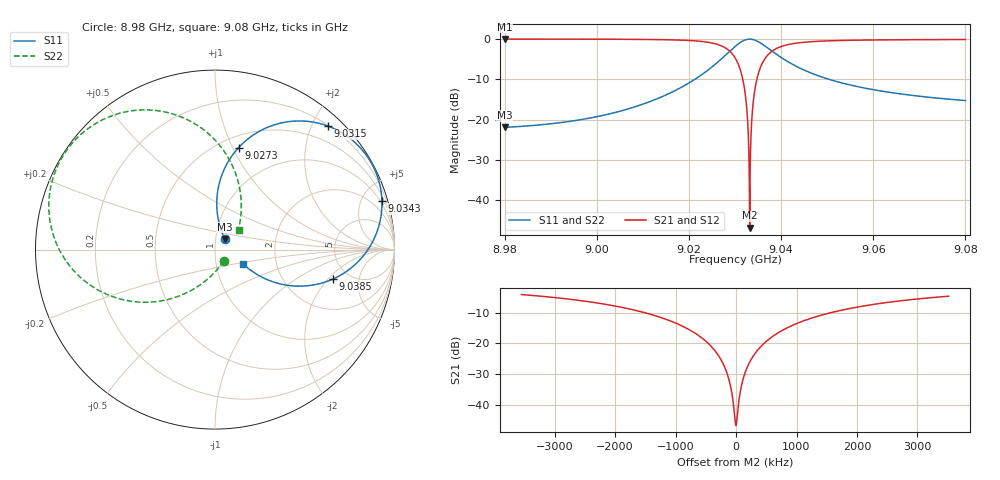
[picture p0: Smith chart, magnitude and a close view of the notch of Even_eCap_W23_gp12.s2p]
! Sonnet Data File
! From: emgraph Version : 16.52
! From Project: Resonator2_extremeCap
! Data is De-embedded
! Data File Written: 10/09/2017 23:02:46
!< HDATE 10/09/2017 15:24:44
!< MDATE 10/09/2017 17:18:05
!< PARAMS
!< Pwid1 = 2000.0
!< Pwid2 = 2000.0
!< Air_gap = 13.8
!< Width = 23.0
!< Gap = 12.0
!< END PARAMS
# GHZ S MA R 51.80000
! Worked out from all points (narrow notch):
!   1596 points, 8.98 GHz to 9.08 GHz, reference 51.8 ohm
!   highest |S21| = -0.03 dB at 8.98 GHz (marker M1); lowest = -46.8 dB at 9.0332 GHz (marker M2)
!   notch at M2: 46.1 dB deep, 595 kHz wide at half that depth
!   lowest |S11| = -21.9 dB at 8.98 GHz (marker M3), VSWR 1.17, Z = 57.3 + j6.81 ohm
!   |S11| at or under -10 dB: start of sweep to 9.021294 GHz; 9.050385 GHz to end of sweep
!   |S22| runs from -21.9 to 0.0 dB; largest |S21 - S12| = 0
!   S11 on the Smith chart (normalised r, x): 8.98 GHz: 1.11, +0.13; 9.0273 GHz: 0.61, +1.06; 9.0315 GHz: 0.21, +2.26; 9.0343 GHz: 0.78, +6.90; 9.0385 GHz: 3.73, -2.26; 9.08 GHz: 1.34, -0.22
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8.98  0.08016 47.4  0.9967 -92.6  0.9967 -92.6  0.08009 -52.6
!< P1 F=8.98 Eeff=(6.44596789 -2.9717e-5) Z0=(51.6719783 1.1922e-4) R=0.0 C=0.0
!< P2 F=8.98 Eeff=(6.44596789 -2.9717e-5) Z0=(51.6719783 1.1922e-4) R=0.0 C=0.0
8.9967  0.1003 66.4  0.9949 -95.0  0.9949 -95.0  0.1002 -76.4
9.0134  0.1845 85.2  0.9826 -101.1  0.9826 -101.1  0.1843 -107.5
9.0221  0.3391 87.1  0.9401 -110.8  0.9401 -110.8  0.3388 -129.0
9.0273  0.5836 77.0  0.81 -127.0  0.81 -127.0  0.5831 -151.4
9.03  0.8066 61.5  0.586 -145.2  0.586 -145.2  0.806 -172.6
9.031516  0.9333 47.5  0.3482 -160.4  0.3482 -160.4  0.9326 170.2
9.032297  0.9772 38.9  0.1919 -169.1  0.1919 -169.1  0.9765 160.1
9.032747  0.9912 33.7  0.09512 -173.4  0.09512 -173.4  0.9905 154.0
9.032998  0.995 30.8  0.04057 -172.8  0.04057 -172.8  0.9943 150.7
9.03309  0.9956 29.7  0.02069 -167.7  0.02069 -167.7  0.9949 149.4
9.033152  0.9958 29.0  0.007939 -146.2  0.007939 -146.2  0.9951 148.6
9.033185  0.9958 28.6  0.004581 -84.8  0.004581 -84.8  0.9951 148.1
9.033313  0.9954 27.1  0.02884 -12.3  0.02884 -12.3  0.9947 146.4
9.033502  0.9934 25.0  0.06948 -9.3  0.06948 -9.3  0.9927 143.8
9.033808  0.9868 21.5  0.1344 -11.2  0.1344 -11.2  0.9862 139.8
9.034285  0.969 16.3  0.231 -16.1  0.231 -16.1  0.9683 133.7
9.0359  0.8644 1.2  0.497 -31.9  0.497 -31.9  0.8638 115.7
9.0385  0.676 -14.1  0.7346 -49.3  0.7346 -49.3  0.6756 95.9
9.0467  0.3745 -28.9  0.9268 -70.2  0.9268 -70.2  0.3743 68.7
9.0634  0.2186 -29.8  0.9757 -80.1  0.9757 -80.1  0.2185 49.7
9.08  0.1724 -26.8  0.985 -83.2  0.985 -83.2  0.1723 40.5
